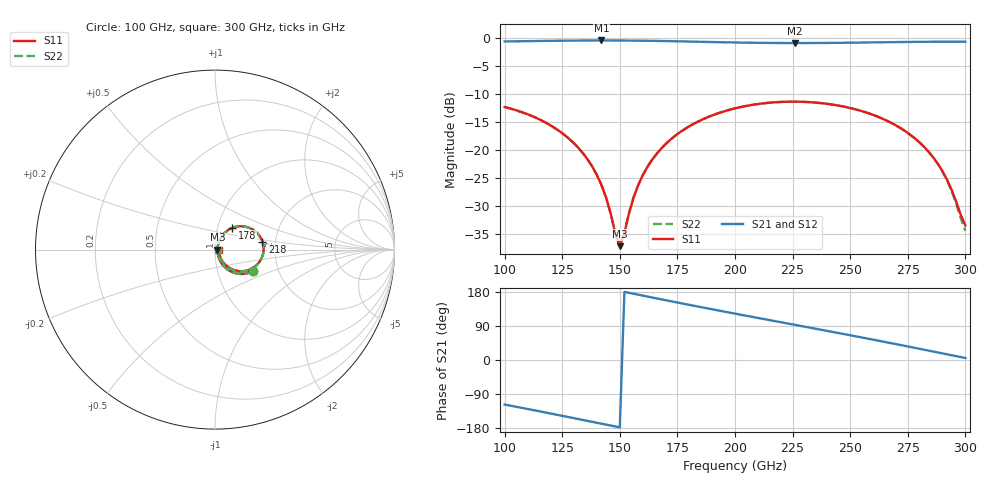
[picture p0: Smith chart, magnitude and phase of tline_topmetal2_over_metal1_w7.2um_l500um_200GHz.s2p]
#  GHZ S DB R 50
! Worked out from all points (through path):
!   101 points, 100 GHz to 300 GHz, reference 50 ohm
!   highest |S21| = -0.42 dB at 142 GHz (marker M1); lowest = -0.9 dB at 226 GHz (marker M2)
!   group delay of S21, straight-line fit = 3.27 ps
!   lowest |S11| = -37.1 dB at 150 GHz (marker M3), VSWR 1.03, Z = 51.4 - j0.018 ohm
!   |S11| at or under -10 dB: start of sweep to end of sweep
!   |S22| runs from -36.9 to -11.3 dB; largest |S21 - S12| = 1.1e-14
!   S11 on the Smith chart (normalised r, x): 100 GHz: 1.48, -0.38; 178 GHz: 1.17, +0.29; 218 GHz: 1.71, +0.16; 300 GHz: 1.04, -0.01
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100  -12.29 -29.7  -0.59 -117.6  -0.59 -117.6  -12.30 -29.7
120  -15.58 -50.8  -0.48 -141.2  -0.48 -141.2  -15.59 -50.8
134  -20.53 -63.4  -0.43 -158.2  -0.43 -158.2  -20.54 -63.3
142  -26.17 -64.8  -0.42 -168.0  -0.42 -168.0  -26.18 -64.5
144  -28.39 -62.2  -0.42 -170.5  -0.42 -170.5  -28.40 -61.8
150  -37.12 -0.7  -0.42 -177.9  -0.42 -177.9  -36.93 -0.2
152  -34.77 37.2  -0.43 179.7  -0.43 179.7  -34.62 36.8
156  -28.43 60.7  -0.44 174.8  -0.44 174.8  -28.37 60.2
158  -26.22 63.3  -0.45 172.3  -0.45 172.3  -26.18 62.9
162  -22.97 63.9  -0.47 167.4  -0.47 167.4  -22.95 63.6
168  -19.70 60.5  -0.51 160.1  -0.51 160.1  -19.68 60.2
178  -16.27 51.6  -0.59 148.1  -0.59 148.1  -16.27 51.4
200  -12.53 28.8  -0.78 122.4  -0.78 122.4  -12.53 28.6
218  -11.43 9.6  -0.86 101.8  -0.86 101.8  -11.43 9.4
226  -11.34 1.1  -0.88 92.8  -0.88 92.8  -11.34 0.8
234  -11.47 -7.4  -0.87 83.7  -0.87 83.7  -11.47 -7.7
252  -12.67 -26.5  -0.80 63.0  -0.80 63.0  -12.68 -26.9
268  -15.16 -42.9  -0.72 44.1  -0.72 44.1  -15.17 -43.5
280  -18.57 -53.4  -0.66 29.7  -0.66 29.7  -18.60 -54.4
288  -22.39 -57.1  -0.64 19.9  -0.64 19.9  -22.45 -58.6
294  -27.04 -52.2  -0.63 12.6  -0.63 12.6  -27.23 -54.7
300  -33.42 -10.5  -0.64 5.2  -0.64 5.2  -34.36 -12.1
